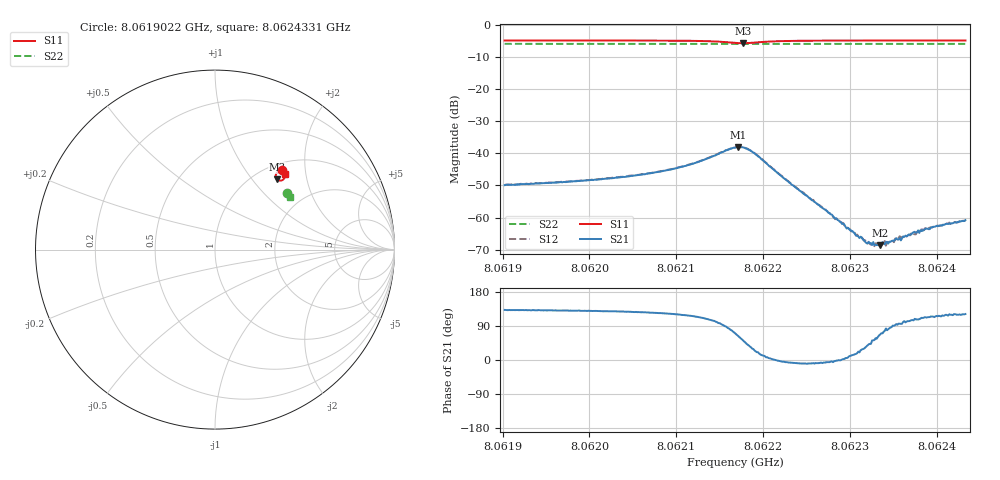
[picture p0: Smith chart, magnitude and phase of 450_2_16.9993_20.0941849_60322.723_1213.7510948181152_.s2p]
#  HZ  S  RI  R  50.00
! Rohde & Schwarz Vector Network Analyzer
! Rohde-Schwarz,ZNB20-2Port,1311601062101988,3.16
! Created: UTC 3/20/2024, 11:12:14 PM
! freq[Hz]  re:S11  im:S11  re:S21  im:S21  re:S12  im:S12  re:S22  im:S22
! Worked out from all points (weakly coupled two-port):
!   401 points, 8.0619022 GHz to 8.0624331 GHz, reference 50 ohm
!   highest |S21| = -38.01 dB at 8.0621717 GHz (marker M1); lowest = -68.7 dB at 8.0623349 GHz (marker M2)
!   lowest |S11| = -5.6 dB at 8.062177 GHz (marker M3), VSWR 3.18, Z = 62.7 + j67.3 ohm
!   |S11| at or under -10 dB: nowhere
!   |S22| runs from -5.9 to -5.8 dB; largest |S21 - S12| = 0.00085
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8.06190225e9  0.3707 0.4409  -0.00215 0.00237  -0.00201 0.00251  0.3999 0.3171
8.06199117e9  0.3773 0.4349  -0.0024 0.00288  -0.00223 0.00303  0.4032 0.3126
8.06204292e9  0.3816 0.43  -0.00263 0.00346  -0.00245 0.00365  0.4052 0.3099
8.06208008e9  0.3852 0.4247  -0.00286 0.0043  -0.00261 0.00448  0.4065 0.3078
8.0621199e9  0.389 0.4141  -0.003 0.00627  -0.00265 0.00652  0.4078 0.3055
8.06216767e9  0.363 0.3841  0.00404 0.0115  0.00471 0.0115  0.4079 0.3021
8.06217165e9  0.3555 0.3853  0.00575 0.0112  0.00653 0.0108  0.4078 0.302
8.06217696e9  0.3462 0.3906  0.00763 0.00975  0.00831 0.0093  0.4075 0.3022
8.06219156e9  0.3384 0.4154  0.00894 0.00374  0.0092 0.0034  0.408 0.3028
8.06222209e9  0.3583 0.4348  0.00431 -0.000324  0.00436 -0.000598  0.4102 0.3021
8.06225659e9  0.3711 0.4347  0.00183 -0.000286  0.00183 -0.000416  0.4118 0.3001
8.06231764e9  0.3814 0.4302  0.00035 0.000226  0.000377 0.000232  0.4143 0.297
8.0623256e9  0.3823 0.4296  0.000232 0.000291  0.00029 0.000267  0.4148 0.2965
8.06233224e9  0.3831 0.4293  0.000183 0.000327  0.000233 0.000306  0.4149 0.2959
8.06233489e9  0.3833 0.4291  0.000143 0.000339  0.000185 0.000336  0.415 0.296
8.06234551e9  0.3843 0.4284  4.54e-05 0.000416  0.000102 0.000404  0.4155 0.2954
8.06235082e9  0.3847 0.428  -1.36e-06 0.000431  4.01e-05 0.000411  0.4156 0.295
8.06235878e9  0.3855 0.4273  -4.09e-05 0.000438  -1.04e-06 0.000489  0.4158 0.2947
8.06237603e9  0.3872 0.4264  -0.000171 0.000555  -0.000152 0.000526  0.4165 0.2938
8.06238134e9  0.3875 0.426  -0.00021 0.0006  -0.000199 0.000613  0.4167 0.2935
8.06239727e9  0.3887 0.425  -0.000282 0.000658  -0.000274 0.000647  0.4172 0.2927
8.0624331e9  0.3915 0.4229  -0.000474 0.00078  -0.000391 0.000813  0.4183 0.2908
